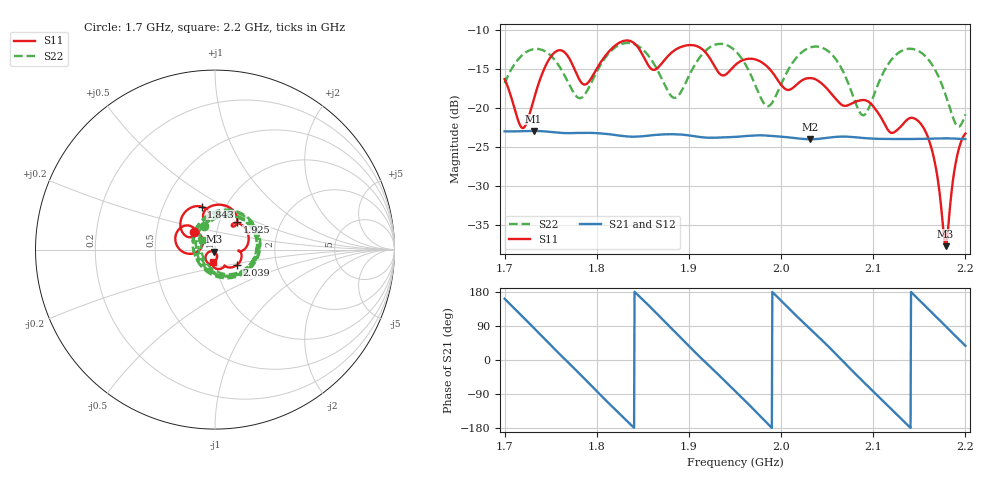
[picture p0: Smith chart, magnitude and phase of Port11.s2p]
# Hz S RI R 50
! CMT, CMT808U, 21440046, 21.4.3/4
! Date: 4/9/2026 1:49:10 AM
! Data: Format (Calibration Info)
! Freq	S11:Re/Im(F2)	S41:Re/Im(F2)	S14:Re/Im(F2)	S44:Re/Im(F2)
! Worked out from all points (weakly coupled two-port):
!   1001 points, 1.7 GHz to 2.2 GHz, reference 50 ohm
!   highest |S21| = -22.99 dB at 1.732 GHz (marker M1); lowest = -24.1 dB at 2.031 GHz (marker M2)
!   lowest |S11| = -37.8 dB at 2.179 GHz (marker M3), VSWR 1.03, Z = 49.4 - j1.15 ohm
!   |S11| at or under -10 dB: start of sweep to end of sweep
!   |S22| runs from -22.4 to -11.7 dB; largest |S21 - S12| = 0.001
!   S11 on the Smith chart (normalised r, x): 1.7 GHz: 0.78, +0.15; 1.843 GHz: 0.77, +0.39; 1.925 GHz: 1.21, +0.39; 2.039 GHz: 1.26, -0.22; 2.2 GHz: 0.96, -0.13
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1.7e9  -0.1172 0.0974  -0.0669 0.0222  -0.0669 0.0213  -0.0623 0.1291
1.719e9  -0.0691 0.027  -0.0307 0.0636  -0.0313 0.0629  0.1047 0.19
1.7315e9  -0.1109 -0.0185  0.00623 0.0706  0.00536 0.0704  0.2057 0.1185
1.7575e9  -0.2201 0.0742  0.0646 0.0247  0.064 0.0254  0.1465 -0.1231
1.7835e9  -0.1102 0.0933  0.0516 -0.0457  0.052 -0.0449  -0.1083 -0.0413
1.814e9  -0.1924 0.1293  -0.0302 -0.0604  -0.0293 -0.0606  0.0463 0.2218
1.843e9  -0.0752 0.2395  -0.0649 0.00525  -0.0647 0.00443  0.252 0.00937
1.867e9  -0.0598 0.1719  -0.0317 0.0591  -0.0323 0.0585  0.0551 -0.1595
1.893e9  -0.00627 0.2471  0.0398 0.054  0.0389 0.0544  -0.1178 0.0579
1.9245e9  0.1244 0.1555  0.0598 -0.0232  0.0599 -0.0223  0.1633 0.186
1.95e9  0.1133 0.1488  0.00979 -0.0642  0.0107 -0.0639  0.224 -0.062
1.9855e9  0.1804 0.0247  -0.0647 -0.0135  -0.0644 -0.0144  -0.0956 -0.0361
2.031e9  0.1437 -0.0576  0.00749 0.0623  0.00655 0.0623  0.201 0.1361
2.0335e9  0.1392 -0.0669  0.0137 0.0612  0.0128 0.0613  0.2163 0.1155
2.0395e9  0.1225 -0.0859  0.028 0.0564  0.0271 0.0567  0.2395 0.0586
2.0655e9  0.0542 -0.0895  0.0652 0.00093  0.0651 0.00183  0.1074 -0.143
2.0885e9  0.0317 -0.1073  0.0361 -0.0527  0.0368 -0.0521  -0.0838 -0.0312
2.117e9  -0.0113 -0.0697  -0.0346 -0.0526  -0.0338 -0.053  0.0501 0.1865
2.156e9  -0.053 -0.0482  -0.0509 0.0373  -0.0514 0.0366  0.2033 -0.0716
2.1785e9  -0.00561 -0.0116  0.000632 0.0635  -0.000267 0.0635  0.00677 -0.1207
2.1895e9  0.0118 -0.0427  0.0291 0.0562  0.0282 0.0566  -0.0651 -0.0441
2.2e9  -0.0135 -0.0668  0.0499 0.0383  0.0493 0.039  -0.0716 0.0555
